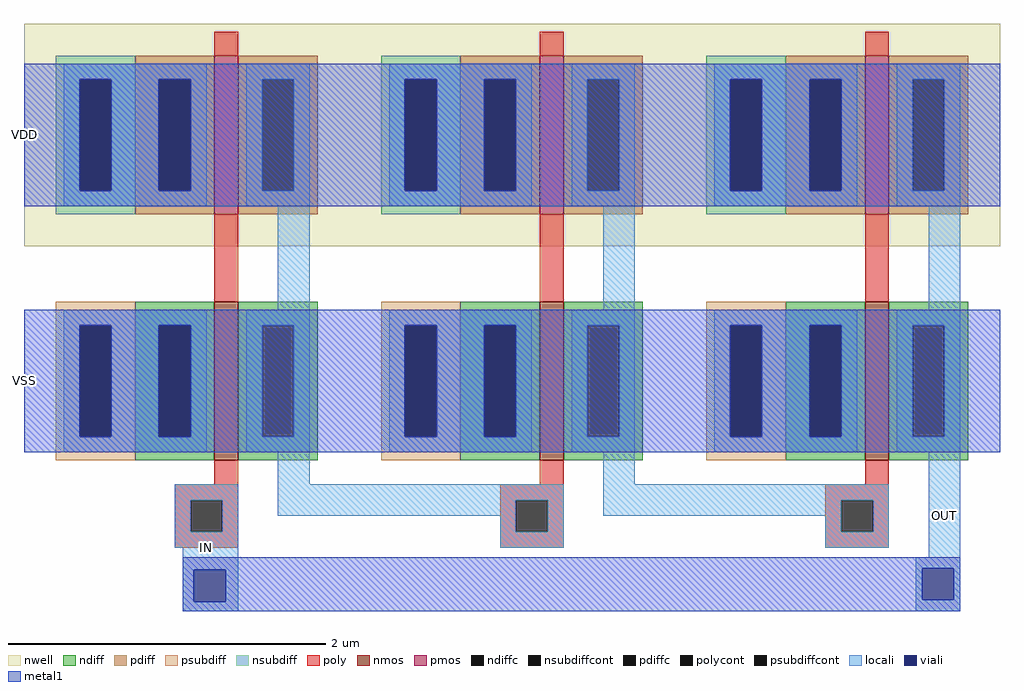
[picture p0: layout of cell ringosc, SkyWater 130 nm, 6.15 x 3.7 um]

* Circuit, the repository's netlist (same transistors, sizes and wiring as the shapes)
* SPICE3 file created from ringosc.ext - technology: sky130A

.subckt inv IN OUT VDD VSS
X0 OUT IN VSS VSS sky130_fd_pr__nfet_01v8 w=1e+06u l=150000u
X1 OUT IN VDD VDD sky130_fd_pr__pfet_01v8 w=1e+06u l=150000u
.ends


* Top level circuit ringosc

Xinv_0 IN inv_1/IN VDD VSS inv
Xinv_1 inv_1/IN inv_2/IN VDD VSS inv
Xinv_2 inv_2/IN IN VDD VSS inv
.end

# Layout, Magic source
magic
tech sky130A
<< locali >>
rect 170 10 290 30
rect 375 10 495 30
rect 90 -24 125 -10
rect 560 -16 580 10
rect 90 -44 97 -24
rect 117 -44 125 -24
rect 90 -50 125 -44
rect 552 -23 580 -16
rect 552 -43 556 -23
rect 576 -43 580 -23
rect 552 -50 580 -43
<< viali >>
rect 97 -44 117 -24
rect 556 -43 576 -23
<< metal1 >>
rect -10 205 15 295
rect -10 50 15 140
rect 90 -23 580 -16
rect 90 -24 556 -23
rect 90 -44 97 -24
rect 117 -43 556 -24
rect 576 -43 580 -23
rect 117 -44 580 -43
rect 90 -50 580 -44
use inv  inv_2
transform 1 0 520 0 1 45
box -120 -55 85 275
use inv  inv_1
transform 1 0 315 0 1 45
box -120 -55 85 275
use inv  inv_0
transform 1 0 110 0 1 45
box -120 -55 85 275
<< labels >>
rlabel metal1 -10 250 -10 250 7 VDD
rlabel metal1 -10 95 -10 95 7 VSS
rlabel locali 105 -10 105 -10 7 IN
rlabel locali 570 10 570 10 3 OUT
<< end >>

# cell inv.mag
magic
tech sky130A
<< nwell >>
rect -120 135 85 275
<< nmos >>
rect 0 0 15 100
<< pmos >>
rect 0 155 15 255
<< ndiff >>
rect -50 85 0 100
rect -50 15 -35 85
rect -15 15 0 85
rect -50 0 0 15
rect 15 85 65 100
rect 15 15 30 85
rect 50 15 65 85
rect 15 0 65 15
<< pdiff >>
rect -50 240 0 255
rect -50 170 -35 240
rect -15 170 0 240
rect -50 155 0 170
rect 15 240 65 255
rect 15 170 30 240
rect 50 170 65 240
rect 15 155 65 170
<< ndiffc >>
rect -35 15 -15 85
rect 30 15 50 85
<< pdiffc >>
rect -35 170 -15 240
rect 30 170 50 240
<< psubdiff >>
rect -100 85 -50 100
rect -100 15 -85 85
rect -65 15 -50 85
rect -100 0 -50 15
<< nsubdiff >>
rect -100 240 -50 255
rect -100 170 -85 240
rect -65 170 -50 240
rect -100 155 -50 170
<< psubdiffcont >>
rect -85 15 -65 85
<< nsubdiffcont >>
rect -85 170 -65 240
<< poly >>
rect 0 255 15 270
rect 0 100 15 155
rect 0 -15 15 0
rect -25 -25 15 -15
rect -25 -45 -15 -25
rect 5 -45 15 -25
rect -25 -55 15 -45
<< polycont >>
rect -15 -45 5 -25
<< locali >>
rect -95 240 -5 250
rect -95 170 -85 240
rect -65 170 -35 240
rect -15 170 -5 240
rect -95 160 -5 170
rect 20 240 60 250
rect 20 170 30 240
rect 50 170 60 240
rect 20 160 60 170
rect 40 95 60 160
rect -95 85 -5 95
rect -95 15 -85 85
rect -65 15 -35 85
rect -15 15 -5 85
rect -95 5 -5 15
rect 20 85 60 95
rect 20 15 30 85
rect 50 15 60 85
rect 20 5 60 15
rect -25 -25 15 -15
rect -25 -45 -15 -25
rect 5 -45 15 -25
rect 40 -35 60 5
rect -25 -55 15 -45
<< viali >>
rect -85 170 -65 240
rect -35 170 -15 240
rect -85 15 -65 85
rect -35 15 -15 85
<< metal1 >>
rect -120 240 85 250
rect -120 170 -85 240
rect -65 170 -35 240
rect -15 170 85 240
rect -120 160 85 170
rect -120 85 85 95
rect -120 15 -85 85
rect -65 15 -35 85
rect -15 15 85 85
rect -120 5 85 15
<< labels >>
rlabel metal1 -120 205 -120 205 7 VDD
port 3 w
rlabel metal1 -120 50 -120 50 7 VSS
port 4 w
rlabel locali 50 -35 50 -35 3 OUT
port 2 e
rlabel locali -5 -55 -5 -55 7 IN
port 1 w
<< end >>
